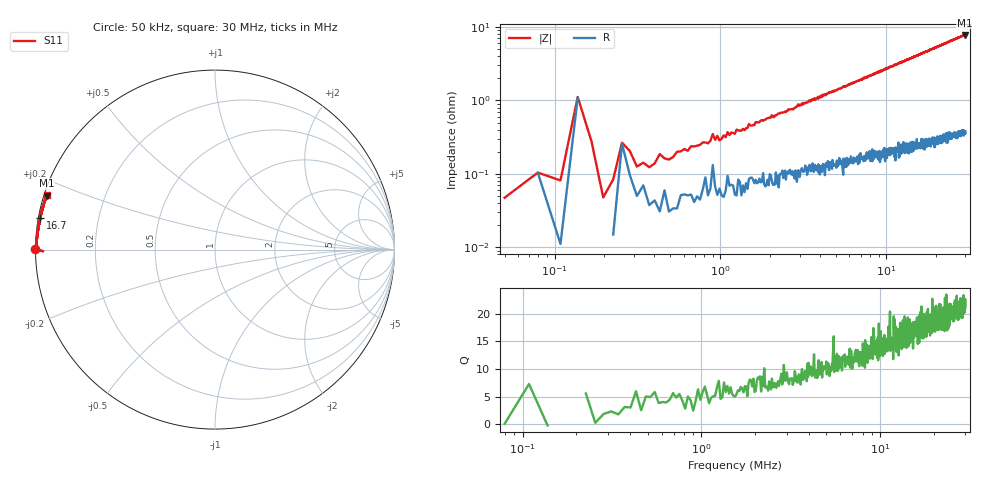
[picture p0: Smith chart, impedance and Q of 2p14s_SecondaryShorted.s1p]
# HZ S RI R 50
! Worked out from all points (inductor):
!   1023 points, 50 kHz to 30 MHz, reference 50 ohm
!   read as one part to ground: L = 57.5 nH near 196.5 kHz
!   highest Q = 21.6 at 29.68 MHz (marker M1), where L = 42 nH
!   S11 on the Smith chart (normalised r, x): 50 kHz: -0.00, +0.00; 16.7 MHz: 0.00, +0.09; 30 MHz: 0.01, +0.16
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50000  -1.001 0.00174
225830  -0.9994 0.0033
284440  -0.9961 0.00721
313745  -0.998 0.0046
401660  -0.9983 0.00526
577490  -0.9979 0.00782
3801040  -0.9947 0.0424
7552080  -0.9895 0.0811
1.130312e7  -0.9856 0.1215
1.171339e7  -0.9839 0.1234
1.206505e7  -0.9847 0.1292
1.276837e7  -0.9818 0.134
1.332516e7  -0.9808 0.1413
1.367682e7  -0.98 0.1457
1.502486e7  -0.9779 0.1584
1.669524e7  -0.9747 0.1766
1.719342e7  -0.974 0.1816
1.807258e7  -0.9714 0.187
1.839493e7  -0.97 0.1927
1.87759e7  -0.9698 0.1963
2.252694e7  -0.9605 0.2329
2.281998e7  -0.9592 0.234
2.355261e7  -0.9573 0.2413
2.422662e7  -0.9552 0.2475
2.451968e7  -0.9553 0.2535
2.627798e7  -0.9497 0.2678
2.967736e7  -0.9387 0.3013
2.999971e7  -0.9371 0.3046
